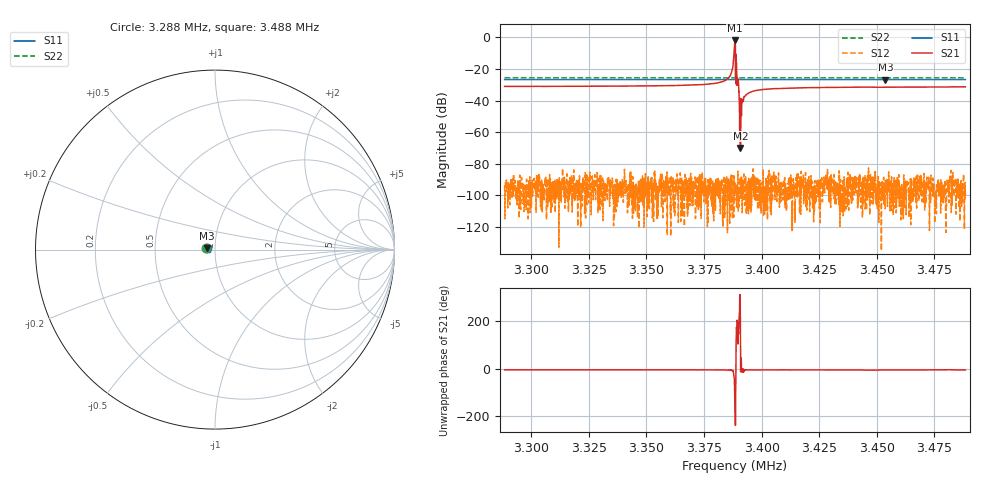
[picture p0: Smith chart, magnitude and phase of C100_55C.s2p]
# Hz S dB R 50.000
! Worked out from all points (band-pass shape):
!   6401 points, 3.288 MHz to 3.488 MHz, reference 50 ohm
!   highest |S21| = -2.02 dB at 3.388 MHz (marker M1); lowest = -70.0 dB at 3.391 MHz (marker M2)
!   |S21| within 3 dB of the highest: 3.388257 MHz to 3.388304 MHz (47.54 Hz wide, 0.0014 % of centre); 3.388356 MHz to 3.388491 MHz (135.1 Hz wide, 0.00399 % of centre)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
!   lowest |S11| = -26.7 dB at 3.454 MHz (marker M3), VSWR 1.10, Z = 45.6 + j0.575 ohm
!   |S11| at or under -10 dB: start of sweep to end of sweep
!   |S22| runs from -25.7 to -25.6 dB; largest |S21 - S12| = 0.79
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3288438  -26.72 170.7  -31.07 -4.3  -93.73 156.9  -25.56 168.9
3321782  -26.71 170.9  -30.97 -4.4  -96.84 33.4  -25.58 169.2
3355126  -26.72 171.3  -30.67 -4.5  -98.26 29.7  -25.59 169.5
3382782  -26.71 171.5  -28.13 -5.0  -89.92 -27.7  -25.60 169.8
3386032  -26.71 171.6  -24.87 -5.1  -97.55 119.3  -25.61 169.8
3386876  -26.71 171.5  -22.39 -5.4  -87.03 -5.5  -25.60 169.8
3387313  -26.71 171.5  -19.78 -8.8  -101.74 42.9  -25.61 169.8
3387657  -26.71 171.5  -16.76 -8.6  -87.45 44.2  -25.61 169.8
3388438  -26.71 171.5  -2.02 -149.6  -92.19 -4.7  -25.58 169.7
3389063  -26.71 171.6  -16.37 176.2  -93.47 170.3  -25.62 169.8
3389313  -26.71 171.6  -27.98 177.6  -96.59 -37.3  -25.61 169.8
3389844  -26.71 171.6  -27.08 152.5  -106.14 -163.3  -25.61 169.8
3390313  -26.71 171.5  -42.01 -124.3  -95.66 112.2  -25.61 169.8
3390813  -26.71 171.6  -70.02 164.9  -92.65 123.5  -25.61 169.8
3391344  -26.71 171.6  -43.48 -10.5  -91.92 95.4  -25.61 169.8
3391907  -26.72 171.6  -39.43 -11.3  -94.10 88.0  -25.61 169.8
3393282  -26.71 171.6  -36.38 -3.7  -99.48 70.7  -25.61 169.9
3397250  -26.71 171.7  -33.77 -4.6  -102.64 133.9  -25.61 169.9
3421782  -26.72 171.8  -31.83 -4.6  -96.10 -1.2  -25.63 170.1
3453750  -26.73 172.2  -31.56 -4.8  -90.39 86.9  -25.64 170.4
3455126  -26.72 172.2  -31.54 -4.8  -86.04 88.0  -25.64 170.4
3488438  -26.72 172.5  -31.34 -4.8  -98.01 28.1  -25.65 170.8
